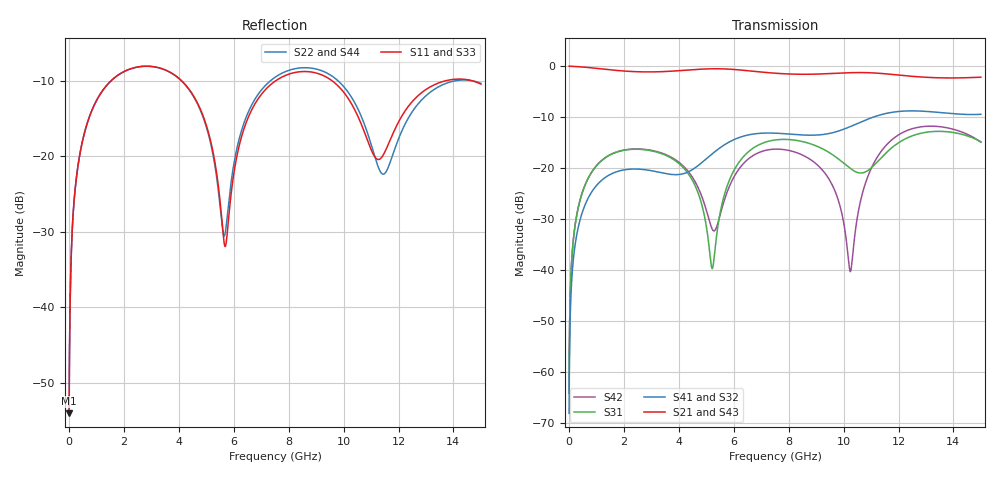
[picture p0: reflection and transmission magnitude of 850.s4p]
! Created with skrf 1.8.0 (http://scikit-rf.org).
# GHz S RI R 50.0
!freq ReS11 ImS11 ReS12 ImS12 ReS13 ImS13
! ReS14 ImS14
! ReS21 ImS21 ReS22 ImS22 ReS23 ImS23
! ReS24 ImS24
! ReS31 ImS31 ReS32 ImS32 ReS33 ImS33
! ReS34 ImS34
! ReS41 ImS41 ReS42 ImS42 ReS43 ImS43
! ReS44 ImS44
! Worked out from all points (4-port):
!   2499 points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, 5 MHz to 15 GHz, reference 50 ohm
!   strongest paths, dB at 5 MHz, 3.476 GHz, 7.19 GHz, 11.1 GHz, 15 GHz:
!     S21: 0.0, -1.1, -1.3, -1.3, -2.2
!     S43: 0.0, -1.1, -1.3, -1.3, -2.2
!     S41: -68.0, -21.0, -13.1, -10.0, -9.4
!     S32: -68.0, -21.1, -13.1, -10.0, -9.5
!     S31: -64.1, -17.4, -14.8, -19.5, -14.8
!     S42: -64.1, -17.2, -16.5, -19.0, -14.9
!   lowest |S11| = -54.0 dB at 5 MHz (marker M1), VSWR 1.00, Z = 50.2 + j0.121 ohm
!   |S11| at or under -10 dB: start of sweep to 1.534 GHz; 4.101 GHz to 7.53 GHz (3.429 GHz wide, 59 % of centre); 9.579 GHz to 13.72 GHz (4.141 GHz wide, 35.5 % of centre) (the widest 3 of 4)
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0.005  0.00158 0.00121  0.9984 -0.00309  7.91e-05 0.000618  -7.69e-05 -0.000389
       0.9984 -0.00309  0.00158 0.00121  -7.69e-05 -0.000389  7.91e-05 0.000618
       7.91e-05 0.000618  -7.69e-05 -0.000389  0.00158 0.00121  0.9984 -0.00309
       -7.69e-05 -0.000389  7.91e-05 0.000618  0.9984 -0.00309  0.00158 0.00121
0.3126303  0.0227 0.0796  0.9691 -0.1922  0.0102 0.0369  -0.00852 -0.023
           0.9691 -0.1922  0.0227 0.0796  -0.00851 -0.023  0.0102 0.0369
           0.0102 0.0369  -0.00851 -0.023  0.0227 0.0796  0.9691 -0.1922
           -0.00852 -0.023  0.0102 0.0369  0.9691 -0.1922  0.0227 0.0796
1.519383  0.2542 0.185  0.5847 -0.7085  0.1192 0.0654  -0.0865 -0.0119
          0.5847 -0.7085  0.2538 0.1853  -0.0864 -0.012  0.1203 0.064
          0.1192 0.0654  -0.0864 -0.012  0.2542 0.185  0.5847 -0.7085
          -0.0865 -0.0119  0.1203 0.064  0.5847 -0.7085  0.2538 0.1853
5.508545  0.0278 -0.0405  -0.9293 -0.1474  0.0166 0.0331  -0.0207 0.1576
          -0.9293 -0.1474  0.0313 -0.0331  -0.0224 0.1574  -0.0228 0.0269
          0.0166 0.0331  -0.0224 0.1574  0.0265 -0.0397  -0.9294 -0.1474
          -0.0207 0.1576  -0.0228 0.0269  -0.9294 -0.1474  0.0323 -0.0321
8.828679  0.36 -0.0285  0.028 0.8324  0.1119 -0.1306  0.2013 -0.0612
          0.028 0.8324  0.3798 -0.0506  0.2017 -0.0581  0.1107 -0.0455
          0.1119 -0.1306  0.2017 -0.0581  0.3593 -0.026  0.0271 0.8329
          0.2013 -0.0612  0.1107 -0.0455  0.0271 0.8329  0.3781 -0.0523
10.24802  0.1852 -0.1346  0.6113 0.6074  -0.0658 -0.0742  0.1742 -0.1873
          0.6113 0.6074  0.1864 -0.1704  0.1772 -0.1843  -0.00861 -0.00446
          -0.0658 -0.0742  0.1772 -0.1843  0.1851 -0.1306  0.6113 0.6084
          0.1742 -0.1873  -0.00861 -0.00446  0.6113 0.6084  0.1826 -0.1702
15  0.2828 -0.1012  -0.1268 -0.7681  0.1165 -0.1388  -0.3148 0.1211
    -0.1268 -0.7681  0.287 -0.0994  -0.3162 0.1104  0.125 -0.1288
    0.1165 -0.1388  -0.3162 0.1104  0.2881 -0.1053  -0.1217 -0.7678
    -0.3148 0.1211  0.125 -0.1288  -0.1217 -0.7678  0.2902 -0.0932
